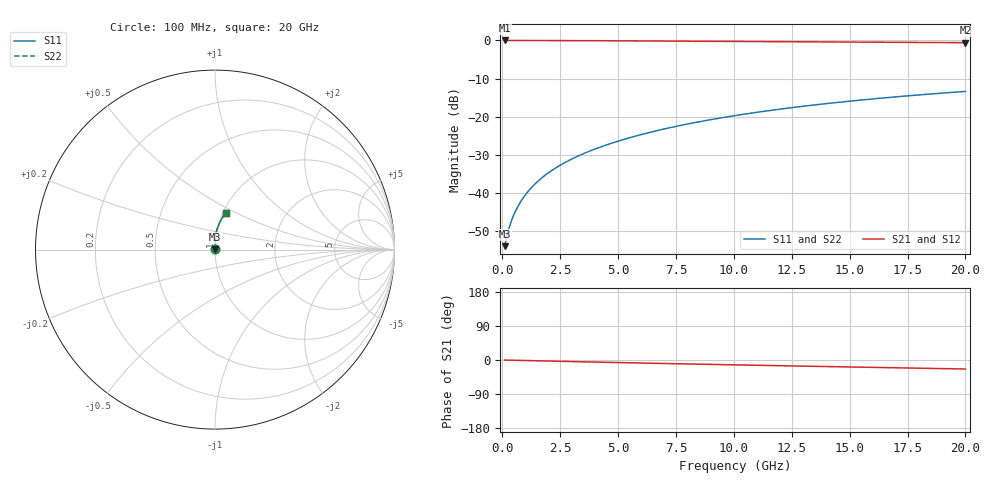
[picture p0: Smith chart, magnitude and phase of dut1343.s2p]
! Touchstone file exported from HFSS 2024.1.0
!  File:  C:/UserFiles/LocalFiles/RDL_TSV_Batchsim/temp_RDL_bottom_1343_1780369958.aedt
!  Generated:  11:14:33 AM Jun  2, 2026
!  Design:  RDL_bottom
!  Project:  temp_RDL_bottom_1343_1780369958
!  Setup:  Setup1
!  Solution:  Sweep
! Variables:
!  dtsv = 10.80580581um
!  hbump = 3um
!  htsv = 53.26um
!  ldown = 355.09um
!  lrdl = 100um
!  p = 40
!  p1 = 40.46um
!  rhole = 1um
!  t = 450um
!  tdown = 3.87um
!  trdl = 3.915915916um
!  wdown = 21.56um
!  wrdl = 20um
# GHz S MA R 50.000000
! Terminal data exported
! Port[1] = RDL1_T1
! Port[2] = RDL1_T2
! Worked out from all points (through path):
!   200 points, 100 MHz to 20 GHz, reference 50 ohm
!   highest |S21| = -0.01 dB at 100 MHz (marker M1); lowest = -0.6 dB at 20 GHz (marker M2)
!   group delay of S21, straight-line fit = 3.27 ps
!   lowest |S11| = -54.0 dB at 100 MHz (marker M3), VSWR 1.00, Z = 50.2 + j0.106 ohm
!   |S11| at or under -10 dB: start of sweep to end of sweep
!   |S22| runs from -54.0 to -13.4 dB; largest |S21 - S12| = 3.4e-15
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0.1  0.002005 31.7  0.9983 -0.1  0.9983 -0.1  0.002005 31.7
! Gamma 0 0 0 0
! Port Impedance 50 0 50 0
0.2  0.002729 48.6  0.9982 -0.3  0.9982 -0.3  0.002728 48.6
0.3  0.003537 57.5  0.998 -0.4  0.998 -0.4  0.003537 57.5
0.4  0.004358 63.1  0.9979 -0.6  0.9979 -0.6  0.004358 63.1
0.5  0.005186 67.1  0.9978 -0.7  0.9978 -0.7  0.005186 67.1
0.6  0.006023 70.1  0.9977 -0.9  0.9977 -0.9  0.006023 70.1
0.8  0.007725 74.4  0.9976 -1.1  0.9976 -1.1  0.007725 74.4
1.1  0.01034 78.4  0.9972 -1.5  0.9972 -1.5  0.01034 78.4
1.3  0.01211 80.2  0.997 -1.8  0.997 -1.8  0.01211 80.2
1.6  0.01481 82.2  0.9966 -2.2  0.9966 -2.2  0.01481 82.2
2.1  0.01938 84.3  0.9957 -2.9  0.9957 -2.9  0.01938 84.3
2.7  0.02499 85.9  0.9945 -3.7  0.9945 -3.7  0.02499 85.9
3.5  0.03268 87.1  0.9924 -4.8  0.9924 -4.8  0.03268 87.1
4.2  0.03961 87.7  0.9903 -5.7  0.9903 -5.7  0.03961 87.7
5  0.04776 88.0  0.9877 -6.8  0.9877 -6.8  0.04776 88.0
6.8  0.0669 87.7  0.9813 -9.0  0.9813 -9.0  0.06689 87.7
8.4  0.08463 86.7  0.9753 -10.9  0.9753 -10.9  0.08461 86.6
10.1  0.1039 85.1  0.9689 -12.9  0.9689 -12.9  0.1039 85.1
11.7  0.1222 83.4  0.9631 -14.7  0.9631 -14.7  0.1222 83.3
13.4  0.1416 81.4  0.9569 -16.6  0.9569 -16.6  0.1416 81.4
16.7  0.1787 77.3  0.9452 -20.3  0.9452 -20.3  0.1786 77.3
20  0.2144 73.3  0.9335 -23.8  0.9335 -23.8  0.2144 73.3
